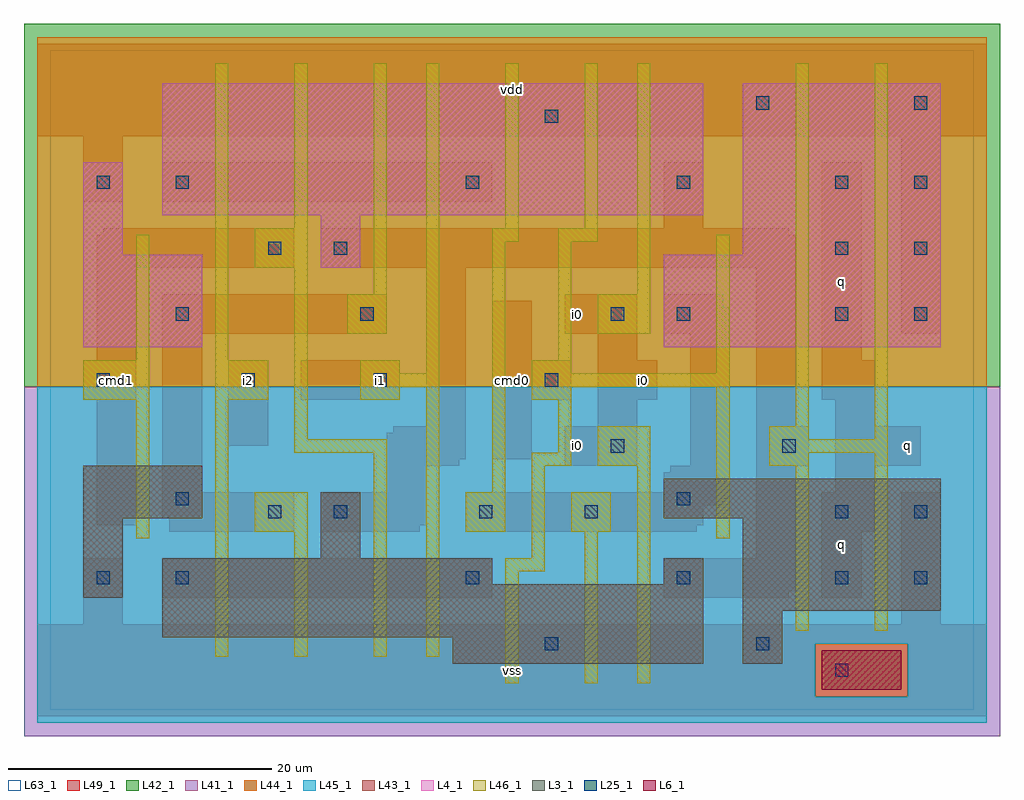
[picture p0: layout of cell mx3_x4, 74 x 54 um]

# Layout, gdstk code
import gdstk
lib = gdstk.Library(unit=1e-6, precision=1e-09)
def R(c, l, rs):  # rectangles x0, y0, x1, y1
    for r in rs: c.add(gdstk.rectangle(r[:2], r[2:], *l))
def A(c, l, x, y, w, h, nx, ny, dx, dy):  # array of equal rectangles
    R(c, l, [(x+i*dx, y+j*dy, x+i*dx+w, y+j*dy+h) for i in range(nx) for j in range(ny)])
L3_1 = (3, 1)
L4_1 = (4, 1)
L6_1 = (6, 1)
L25_1 = (25, 1)
L41_1 = (41, 1)
L42_1 = (42, 1)
L43_1 = (43, 1)
L44_1 = (44, 1)
L45_1 = (45, 1)
L46_1 = (46, 1)
L49_1 = (49, 1)
L63_1 = (63, 1)

mx3_x4 = lib.new_cell('mx3_x4')
R(mx3_x4, L3_1, [(30.5,3.5,49.5,5.5), (52.5,3.5,55.5,7.5), (8.5,5.5,49.5,9.5), (52.5,7.5,67.5,14.5), (2.5,8.5,5.5,14.5), (8.5,9.5,33.5,11.5), (46.5,9.5,49.5,11.5), (20.5,11.5,23.5,16.5), (2.5,14.5,11.5,18.5), (46.5,14.5,67.5,17.5)])
R(mx3_x4, L4_1, [(2.5,27.5,11.5,34.5), (46.5,27.5,67.5,34.5), (20.5,33.5,23.5,37.5), (2.5,34.5,5.5,41.5), (52.5,34.5,67.5,47.5), (8.5,37.5,49.5,47.5)])
R(mx3_x4, L6_1, [(58.5,1.5,64.5,4.5)])
A(mx3_x4, L25_1, 37.5, 4.5, 1, 1, 1, 3, 0, 20)
A(mx3_x4, L25_1, 3.5, 9.5, 1, 1, 1, 3, 0, 15)
A(mx3_x4, L25_1, 59.5, 29.5, 1, 1, 1, 3, 0, 5)
A(mx3_x4, L25_1, 65.5, 29.5, 1, 1, 1, 3, 0, 5)
R(mx3_x4, L25_1, [(59.5,2.5,60.5,3.5), (53.5,4.5,54.5,5.5), (9.5,9.5,10.5,10.5), (31.5,9.5,32.5,10.5), (47.5,9.5,48.5,10.5), (59.5,9.5,60.5,10.5), (65.5,9.5,66.5,10.5), (16.5,14.5,17.5,15.5), (21.5,14.5,22.5,15.5), (32.5,14.5,33.5,15.5), (40.5,14.5,41.5,15.5), (59.5,14.5,60.5,15.5), (65.5,14.5,66.5,15.5), (9.5,15.5,10.5,16.5), (47.5,15.5,48.5,16.5), (42.5,19.5,43.5,20.5), (55.5,19.5,56.5,20.5), (14.5,24.5,15.5,25.5), (24.5,24.5,25.5,25.5), (9.5,29.5,10.5,30.5), (23.5,29.5,24.5,30.5), (42.5,29.5,43.5,30.5), (47.5,29.5,48.5,30.5), (16.5,34.5,17.5,35.5), (21.5,34.5,22.5,35.5), (9.5,39.5,10.5,40.5), (31.5,39.5,32.5,40.5), (47.5,39.5,48.5,40.5), (53.5,45.5,54.5,46.5), (65.5,45.5,66.5,46.5)])
R(mx3_x4, L41_1, [(-2,-2,72,24.5)])
R(mx3_x4, L42_1, [(-2,24.5,72,52)])
R(mx3_x4, L43_1, [(58.5,1.5,64.5,4.5), (30.5,3.5,49.5,5.5), (52.5,3.5,55.5,7.5), (8.5,5.5,49.5,9.5), (52.5,7.5,67.5,14.5), (2.5,8.5,5.5,14.5), (8.5,9.5,33.5,11.5), (46.5,9.5,49.5,11.5), (20.5,11.5,23.5,16.5), (2.5,14.5,11.5,18.5), (46.5,14.5,67.5,17.5), (2.5,27.5,11.5,34.5), (46.5,27.5,67.5,34.5), (20.5,33.5,23.5,37.5), (2.5,34.5,5.5,41.5), (52.5,34.5,67.5,47.5), (8.5,37.5,49.5,47.5)])
R(mx3_x4, L44_1, [(58,1,65,5), (-1,24.5,71,51)])
R(mx3_x4, L45_1, [(-1,-1,71,1), (-1,1,58,5), (65,1,71,5), (-1,5,71,24.5)])
R(mx3_x4, L46_1, [(34.5,2,35.5,10.5), (40.5,2,41.5,13.5), (44.5,2,45.5,18.5), (12.5,4,13.5,23.5), (18.5,4,19.5,13.5), (24.5,4,25.5,19.5), (28.5,4,29.5,24.5), (56.5,6,57.5,18.5), (62.5,6,63.5,19.5), (34.5,10.5,37.5,11.5), (36.5,11.5,37.5,18.5), (6.5,13,7.5,23.5), (50.5,13,51.5,24.5), (15.5,13.5,19.5,16.5), (31.5,13.5,34.5,16.5), (39.5,13.5,42.5,16.5), (33.5,16.5,34.5,35.5), (36.5,18.5,39.5,19.5), (41.5,18.5,45.5,21.5), (54.5,18.5,57.5,19.5), (18.5,19.5,25.5,20.5), (38.5,19.5,39.5,23.5), (54.5,19.5,63.5,20.5), (18.5,20.5,19.5,33.5), (54.5,20.5,57.5,21.5), (62.5,20.5,63.5,49), (56.5,21.5,57.5,49), (2.5,23.5,7.5,26.5), (12.5,23.5,16.5,26.5), (23.5,23.5,26.5,24.5), (36.5,23.5,39.5,24.5), (23.5,24.5,29.5,25.5), (36.5,24.5,51.5,25.5), (23.5,25.5,26.5,26.5), (28.5,25.5,29.5,49), (36.5,25.5,39.5,26.5), (50.5,25.5,51.5,36), (6.5,26.5,7.5,36), (12.5,26.5,13.5,49), (38.5,26.5,39.5,35.5), (22.5,28.5,25.5,31.5), (41.5,28.5,45.5,31.5), (24.5,31.5,25.5,49), (44.5,31.5,45.5,49), (15.5,33.5,19.5,36.5), (33.5,35.5,35.5,36.5), (38.5,35.5,41.5,36.5), (18.5,36.5,19.5,49), (34.5,36.5,35.5,49), (40.5,36.5,41.5,49)])
R(mx3_x4, L49_1, [(-1,-0.5,71,6.5), (2.5,6.5,5.5,11.5), (64.5,6.5,67.5,16.5), (8.5,8.5,33.5,11.5), (46.5,8.5,56,9), (58.5,8.5,61.5,13.5), (46.5,9,56.5,11.5), (53.5,11.5,56.5,18.5), (9,13.5,18.5,14.5), (20.5,13.5,28,14), (31.5,13.5,49,14), (58.5,13.5,62.5,16.5), (3.5,14,6.5,23.5), (20.5,14,28.5,16.5), (31.5,14,49.5,15.5), (8.5,14.5,18.5,16.5), (31.5,15.5,51,16), (31.5,16,51.5,16.5), (8.5,16.5,11.5,28.5), (25.5,16.5,28.5,18.5), (46.5,16.5,51.5,18), (59.5,16.5,62.5,18.5), (47,18,51.5,18.5), (25.5,18.5,31,19), (39,18.5,44.5,21.5), (48.5,18.5,51.5,28.5), (53.5,18.5,57.5,21.5), (59.5,18.5,66,21.5), (25.5,19,31.5,21), (33.5,19,36.5,23.5), (13.5,20,16.5,26.5), (26,21,31.5,21.5), (28.5,21.5,31.5,33.5), (41.5,21.5,44.5,23.5), (53.5,21.5,56.5,33.5), (59.5,21.5,62.5,23.5), (2.5,23.5,6.5,26.5), (19,23.5,26.5,26.5), (33.5,23.5,39.5,26.5), (41.5,23.5,46,26.5), (58.5,23.5,62.5,26.5), (3.5,26.5,6.5,33.5), (33.5,26.5,36.5,31), (41.5,26.5,44.5,28.5), (58.5,26.5,61.5,41.5), (8.5,28.5,25.5,31.5), (39,28.5,44.5,31.5), (46.5,28.5,51.5,30.5), (64.5,28.5,67.5,43.5), (46.5,30.5,51,31.5), (3.5,33.5,18.5,36), (20.5,33.5,56.5,36), (4,36,18.5,36.5), (20.5,36,56,36.5), (46.5,36.5,49.5,41.5), (2.5,38.5,5.5,43.5), (8.5,38.5,33.5,41.5), (-1,43.5,71,50.5)])
R(mx3_x4, L63_1, [(0,0,70,50)])
mx3_x4.add(gdstk.Label('cmd1', (5,25), layer=49, texttype=1))
mx3_x4.add(gdstk.Label('cmd1', (5,25), layer=49, texttype=1))
mx3_x4.add(gdstk.Label('i1', (25,25), layer=49, texttype=1))
mx3_x4.add(gdstk.Label('i2', (15,25), layer=49, texttype=1))
mx3_x4.add(gdstk.Label('i1', (25,25), layer=49, texttype=1))
mx3_x4.add(gdstk.Label('i2', (15,25), layer=49, texttype=1))
mx3_x4.add(gdstk.Label('vss', (35,3), layer=49, texttype=1))
mx3_x4.add(gdstk.Label('vss', (35,3), layer=49, texttype=1))
mx3_x4.add(gdstk.Label('i0', (40,20), layer=49, texttype=1))
mx3_x4.add(gdstk.Label('i0', (40,20), layer=49, texttype=1))
mx3_x4.add(gdstk.Label('cmd0', (35,25), layer=49, texttype=1))
mx3_x4.add(gdstk.Label('cmd0', (35,25), layer=49, texttype=1))
mx3_x4.add(gdstk.Label('i0', (40,30), layer=49, texttype=1))
mx3_x4.add(gdstk.Label('i0', (40,30), layer=49, texttype=1))
mx3_x4.add(gdstk.Label('vdd', (35,47), layer=49, texttype=1))
mx3_x4.add(gdstk.Label('vdd', (35,47), layer=49, texttype=1))
mx3_x4.add(gdstk.Label('i0', (45,25), layer=49, texttype=1))
mx3_x4.add(gdstk.Label('i0', (45,25), layer=49, texttype=1))
mx3_x4.add(gdstk.Label('q', (60,12.5), layer=49, texttype=1))
mx3_x4.add(gdstk.Label('q', (60,12.5), layer=49, texttype=1))
mx3_x4.add(gdstk.Label('q', (65,20), layer=49, texttype=1))
mx3_x4.add(gdstk.Label('q', (65,20), layer=49, texttype=1))
mx3_x4.add(gdstk.Label('q', (60,32.5), layer=49, texttype=1))
mx3_x4.add(gdstk.Label('q', (60,32.5), layer=49, texttype=1))

lib.write_gds('mx3_x4.gds')
